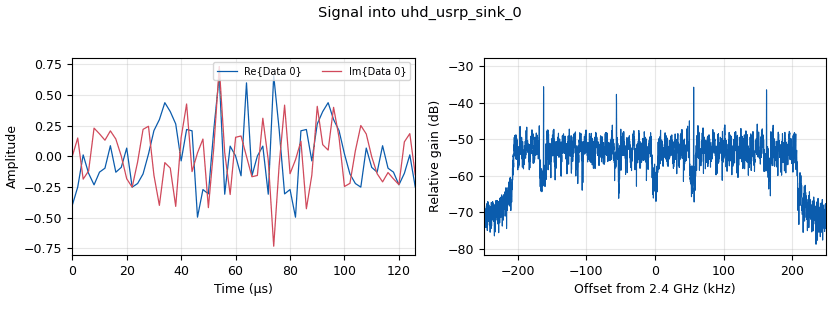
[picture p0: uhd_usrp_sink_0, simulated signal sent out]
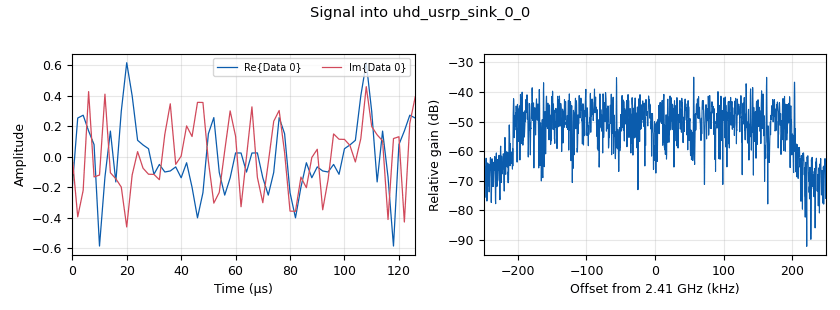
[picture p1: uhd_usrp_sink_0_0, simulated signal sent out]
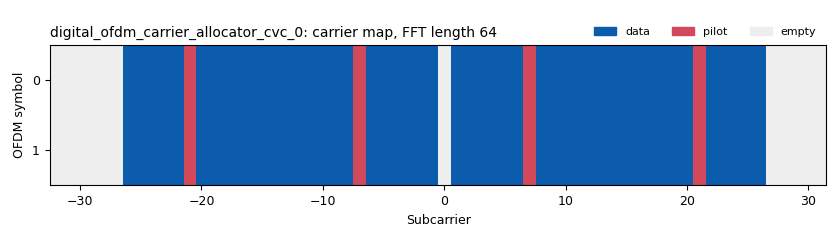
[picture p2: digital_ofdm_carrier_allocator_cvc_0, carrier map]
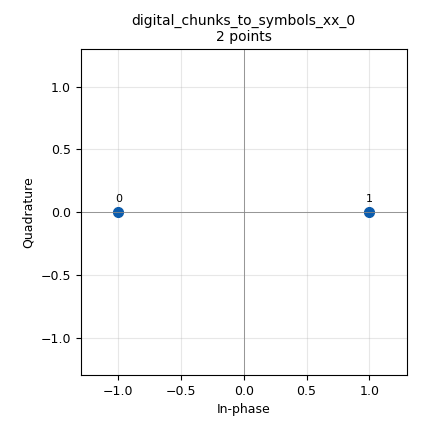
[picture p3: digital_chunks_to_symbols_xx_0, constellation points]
options:
  parameters:
    author: alvaro
    generate_options: qt_gui
    id: primary_users
    output_language: python
    title: PRIMARY USERS
  states: {}

blocks:
- name: fft_len
  id: variable
  parameters:
    value: '64'
  states: {}
- name: hdr_format
  id: variable
  parameters:
    value: digital.header_format_ofdm(occupied_carriers, 1, length_tag_key,)
  states: {}
- name: header_equalizer
  id: variable
  parameters:
    value: digital.ofdm_equalizer_simpledfe(fft_len, header_mod.base(), occupied_carriers, pilot_carriers, pilot_symbols)
  states: {}
- name: header_formatter
  id: variable
  parameters:
    value: digital.packet_header_ofdm(occupied_carriers, n_syms=1, len_tag_key=packet_length_tag_key, frame_len_tag_key=length_tag_key, bits_per_header_sym=header_mod.bits_per_symbol(), bits_per_payload_sym=payload_mod.bits_per_symbol(), scramble_header=False)
  states: {}
- name: header_mod
  id: variable
  parameters:
    value: digital.constellation_bpsk()
  states: {}
- name: length_tag_key
  id: variable
  parameters:
    value: '"packet_len"'
  states: {}
- name: occupied_carriers
  id: variable
  parameters:
    value: (list(range(-26, -21)) + list(range(-20, -7)) + list(range(-6, 0)) + list(range(1, 7)) + list(range(8, 21)) + list(range(22, 27)),)
  states: {}
- name: packet_len
  id: variable
  parameters:
    value: '125'
  states: {}
- name: packet_length_tag_key
  id: variable
  parameters:
    value: '"packet_len"'
  states: {}
- name: payload_equalizer
  id: variable
  parameters:
    value: digital.ofdm_equalizer_simpledfe(fft_len, payload_mod.base(), occupied_carriers, pilot_carriers, pilot_symbols, 1)
  states: {}
- name: payload_mod
  id: variable
  parameters:
    value: digital.constellation_bpsk()
  states: {}
- name: pilot_carriers
  id: variable
  parameters:
    value: ((-21, -7, 7, 21,),)
  states: {}
- name: pilot_symbols
  id: variable
  parameters:
    value: ((1, 1, 1, -1,),)
  states: {}
- name: prx_downstream_freq
  id: variable_qtgui_entry
  parameters:
    label: PRIMARY RX DOWNSTREAM FREQ
    type: int
    value: '2400000000'
  states: {}
- name: prx_downstream_gain
  id: variable_qtgui_entry
  parameters:
    label: PRIMARY RX DOWNSTREAM GAIN
    type: int
    value: '50'
  states: {}
- name: prx_upstream_freq
  id: variable_qtgui_entry
  parameters:
    label: PRIMARY RX UPSTREAM FREQ
    type: int
    value: '2410000000'
  states: {}
- name: prx_upstream_gain
  id: variable_qtgui_entry
  parameters:
    label: PRIMARY RX UPSTREAM GAIN
    type: int
    value: '50'
  states: {}
- name: ptx_downstream_freq
  id: variable_qtgui_entry
  parameters:
    label: PRIMARY TX DOWNSTREAM FREQ
    type: int
    value: '2410000000'
  states: {}
- name: ptx_downstream_gain
  id: variable_qtgui_entry
  parameters:
    label: PRIMARY TX DOWNSTREAM GAIN
    type: real
    value: '50'
  states: {}
- name: ptx_upstream_freq
  id: variable_qtgui_entry
  parameters:
    label: PRIMARY TX UPSTREAM FREQ
    type: int
    value: '2400000000'
  states: {}
- name: ptx_upstream_gain
  id: variable_qtgui_entry
  parameters:
    label: PRIMARY TX UPSTREAM GAIN
    type: int
    value: '50'
  states: {}
- name: rolloff
  id: variable
  parameters:
    value: '0'
  states: {}
- name: samp_rate
  id: variable
  parameters:
    value: '500000'
  states: {}
- name: sync_word1
  id: variable
  parameters:
    value: '[0., 0., 0., 0., 0., 0., 0., 1.41421356, 0., -1.41421356, 0., 1.41421356, 0., -1.41421356, 0., -1.41421356, 0., -1.41421356, 0., 1.41421356, 0., -1.41421356, 0., 1.41421356, 0., -1.41421356, 0., -1.41421356, 0., -1.41421356, 0., -1.41421356, 0., 1.41421356, 0., -1.41421356, 0., 1.41421356, 0., 1.41421356, 0., 1.41421356, 0., -1.41421356, 0., 1.41421356, 0., 1.41421356, 0., 1.41421356, 0., -1.41421356, 0., 1.41421356, 0., 1.41421356, 0., 1.41421356, 0., 0., 0., 0., 0., 0.]'
  states: {}
- name: sync_word2
  id: variable
  parameters:
    value: '[0, 0, 0, 0, 0, 0, -1, -1, -1, -1, 1, 1, -1, -1, -1, 1, -1, 1, 1, 1, 1, 1, -1, -1, -1, -1, -1, 1, -1, -1, 1, -1, 0, 1, -1, 1, 1, 1, -1, 1, 1, 1, -1, 1, 1, 1, 1, -1, 1, -1, -1, -1, 1, -1, 1, -1, -1, -1, -1, 0, 0, 0, 0, 0] '
  states: {}
- name: analog_frequency_modulator_fc_0_0_0
  id: analog_frequency_modulator_fc
  parameters:
    sensitivity: '-2.0/fft_len'
  states: {}
- name: analog_frequency_modulator_fc_0_0_0_0
  id: analog_frequency_modulator_fc
  parameters:
    sensitivity: '-2.0/fft_len'
  states: {}
- name: blocks_delay_0_0_0
  id: blocks_delay
  parameters:
    delay: fft_len+fft_len//4
    type: complex
  states: {}
- name: blocks_delay_0_0_0_0
  id: blocks_delay
  parameters:
    delay: fft_len+fft_len//4
    type: complex
  states: {}
- name: blocks_message_debug_0
  id: blocks_message_debug
  parameters: {}
  states: {state: disabled}
- name: blocks_message_debug_0_0
  id: blocks_message_debug
  parameters: {}
  states: {state: disabled}
- name: blocks_message_debug_0_0_0
  id: blocks_message_debug
  parameters: {}
  states: {}
- name: blocks_message_strobe_0
  id: blocks_message_strobe
  parameters:
    msg: pmt.intern("TEST")
    period: '1'
  states: {}
- name: blocks_multiply_const_vxx_0
  id: blocks_multiply_const_vxx
  parameters:
    const: '50e-3'
    type: complex
  states: {}
- name: blocks_multiply_const_vxx_0_0
  id: blocks_multiply_const_vxx
  parameters:
    const: '50e-3'
    type: complex
  states: {}
- name: blocks_multiply_xx_0_0_0
  id: blocks_multiply_xx
  parameters:
    type: complex
  states: {}
- name: blocks_multiply_xx_0_0_0_0
  id: blocks_multiply_xx
  parameters:
    type: complex
  states: {}
- name: blocks_pdu_to_tagged_stream_0
  id: blocks_pdu_to_tagged_stream
  parameters:
    tag: packet_len
    type: byte
  states: {}
- name: blocks_pdu_to_tagged_stream_0_0
  id: blocks_pdu_to_tagged_stream
  parameters:
    tag: packet_len
    type: byte
  states: {}
- name: blocks_pdu_to_tagged_stream_0_0_0
  id: blocks_pdu_to_tagged_stream
  parameters:
    tag: packet_len
    type: byte
  states: {}
- name: blocks_pdu_to_tagged_stream_0_1
  id: blocks_pdu_to_tagged_stream
  parameters:
    tag: packet_len
    type: byte
  states: {}
- name: blocks_random_pdu_0
  id: blocks_random_pdu
  parameters:
    length_modulo: '1'
    mask: '0xff'
    maxsize: '119'
    minsize: '119'
  states: {}
- name: blocks_random_pdu_0_0
  id: blocks_random_pdu
  parameters:
    length_modulo: '1'
    mask: '0xff'
    maxsize: '119'
    minsize: '119'
  states: {}
- name: blocks_repack_bits_bb_0
  id: blocks_repack_bits_bb
  parameters:
    endianness: gr.GR_LSB_FIRST
    k: '8'
    l: payload_mod.bits_per_symbol()
    len_tag_key: length_tag_key
  states: {}
- name: blocks_repack_bits_bb_0_0
  id: blocks_repack_bits_bb
  parameters:
    endianness: gr.GR_LSB_FIRST
    k: '8'
    l: '1'
    len_tag_key: length_tag_key
  states: {}
- name: blocks_repack_bits_bb_0_0_0
  id: blocks_repack_bits_bb
  parameters:
    endianness: gr.GR_LSB_FIRST
    k: '8'
    l: '1'
    len_tag_key: length_tag_key
  states: {}
- name: blocks_repack_bits_bb_0_1
  id: blocks_repack_bits_bb
  parameters:
    endianness: gr.GR_LSB_FIRST
    k: '8'
    l: payload_mod.bits_per_symbol()
    len_tag_key: length_tag_key
  states: {}
- name: blocks_repack_bits_bb_0_1_0_0
  id: blocks_repack_bits_bb
  parameters:
    align_output: 'True'
    endianness: gr.GR_LSB_FIRST
    k: payload_mod.bits_per_symbol()
    l: '8'
    len_tag_key: packet_length_tag_key
  states: {}
- name: blocks_repack_bits_bb_0_1_0_0_0
  id: blocks_repack_bits_bb
  parameters:
    align_output: 'True'
    endianness: gr.GR_LSB_FIRST
    k: payload_mod.bits_per_symbol()
    l: '8'
    len_tag_key: packet_length_tag_key
  states: {}
- name: blocks_tag_debug_1_0_0
  id: blocks_tag_debug
  parameters:
    display: 'False'
    name: Rx Bytes
    type: byte
  states: {}
- name: blocks_tag_debug_1_0_0_0
  id: blocks_tag_debug
  parameters:
    display: 'False'
    name: Rx Bytes
    type: byte
  states: {}
- name: blocks_tag_gate_0
  id: blocks_tag_gate
  parameters:
    propagate_tags: 'True'
    type: complex
  states: {}
- name: blocks_tag_gate_0_0
  id: blocks_tag_gate
  parameters:
    propagate_tags: 'True'
    type: complex
  states: {}
- name: blocks_tagged_stream_mux_0
  id: blocks_tagged_stream_mux
  parameters:
    lengthtagname: length_tag_key
    ninputs: '2'
    type: complex
  states: {}
- name: blocks_tagged_stream_mux_0_0
  id: blocks_tagged_stream_mux
  parameters:
    lengthtagname: length_tag_key
    ninputs: '2'
    type: complex
  states: {}
- name: blocks_tagged_stream_to_pdu_0
  id: blocks_tagged_stream_to_pdu
  parameters:
    tag: length_tag_key
    type: byte
  states: {}
- name: blocks_tagged_stream_to_pdu_0_0
  id: blocks_tagged_stream_to_pdu
  parameters:
    tag: length_tag_key
    type: byte
  states: {}
- name: digital_chunks_to_symbols_xx_0
  id: digital_chunks_to_symbols_xx
  parameters:
    dimension: '1'
    in_type: byte
    out_type: complex
    symbol_table: header_mod.points()
  states: {}
- name: digital_chunks_to_symbols_xx_0_0
  id: digital_chunks_to_symbols_xx
  parameters:
    dimension: '1'
    in_type: byte
    out_type: complex
    symbol_table: payload_mod.points()
  states: {}
- name: digital_chunks_to_symbols_xx_0_0_0
  id: digital_chunks_to_symbols_xx
  parameters:
    dimension: '1'
    in_type: byte
    out_type: complex
    symbol_table: payload_mod.points()
  states: {}
- name: digital_chunks_to_symbols_xx_0_1
  id: digital_chunks_to_symbols_xx
  parameters:
    dimension: '1'
    in_type: byte
    out_type: complex
    symbol_table: header_mod.points()
  states: {}
- name: digital_constellation_decoder_cb_0_0_0
  id: digital_constellation_decoder_cb
  parameters:
    constellation: header_mod.base()
  states: {}
- name: digital_constellation_decoder_cb_0_0_0_0
  id: digital_constellation_decoder_cb
  parameters:
    constellation: header_mod.base()
  states: {}
- name: digital_constellation_decoder_cb_1_0_0
  id: digital_constellation_decoder_cb
  parameters:
    constellation: payload_mod.base()
  states: {}
- name: digital_constellation_decoder_cb_1_0_0_0
  id: digital_constellation_decoder_cb
  parameters:
    constellation: payload_mod.base()
  states: {}
- name: digital_header_payload_demux_0_0_0
  id: digital_header_payload_demux
  parameters:
    guard_interval: fft_len//4
    header_len: '3'
    header_padding: '0'
    items_per_symbol: fft_len
    length_tag_key: length_tag_key
    output_symbols: 'True'
    samp_rate: samp_rate
    special_tags: ()
    timing_tag_key: '"rx_time"'
    type: complex
  states: {}
- name: digital_header_payload_demux_0_0_0_0
  id: digital_header_payload_demux
  parameters:
    guard_interval: fft_len//4
    header_len: '3'
    header_padding: '0'
    items_per_symbol: fft_len
    length_tag_key: length_tag_key
    output_symbols: 'True'
    samp_rate: samp_rate
    special_tags: ()
    timing_tag_key: '"rx_time"'
    type: complex
  states: {}
- name: digital_ofdm_carrier_allocator_cvc_0
  id: digital_ofdm_carrier_allocator_cvc
  parameters:
    fft_len: fft_len
    len_tag_key: length_tag_key
    occupied_carriers: occupied_carriers
    output_is_shifted: 'True'
    pilot_carriers: pilot_carriers
    pilot_symbols: pilot_symbols
    sync_words: (sync_word1, sync_word2)
  states: {}
- name: digital_ofdm_carrier_allocator_cvc_0_0
  id: digital_ofdm_carrier_allocator_cvc
  parameters:
    fft_len: fft_len
    len_tag_key: length_tag_key
    occupied_carriers: occupied_carriers
    output_is_shifted: 'True'
    pilot_carriers: pilot_carriers
    pilot_symbols: pilot_symbols
    sync_words: (sync_word1, sync_word2)
  states: {}
- name: digital_ofdm_chanest_vcvc_0_0_0
  id: digital_ofdm_chanest_vcvc
  parameters:
    force_one_symbol: 'False'
    max_carr_offset: '3'
    n_data_symbols: '1'
    sync_symbol1: sync_word1
    sync_symbol2: sync_word2
  states: {}
- name: digital_ofdm_chanest_vcvc_0_0_0_0
  id: digital_ofdm_chanest_vcvc
  parameters:
    force_one_symbol: 'False'
    max_carr_offset: '3'
    n_data_symbols: '1'
    sync_symbol1: sync_word1
    sync_symbol2: sync_word2
  states: {}
- name: digital_ofdm_cyclic_prefixer_0
  id: digital_ofdm_cyclic_prefixer
  parameters:
    cp_len: fft_len//4
    input_size: fft_len
    rolloff: rolloff
    tagname: length_tag_key
  states: {}
- name: digital_ofdm_cyclic_prefixer_0_0
  id: digital_ofdm_cyclic_prefixer
  parameters:
    cp_len: fft_len//4
    input_size: fft_len
    rolloff: rolloff
    tagname: length_tag_key
  states: {}
- name: digital_ofdm_frame_equalizer_vcvc_0_0_0
  id: digital_ofdm_frame_equalizer_vcvc
  parameters:
    cp_len: fft_len//4
    equalizer: header_equalizer.base()
    fft_len: fft_len
    fixed_frame_len: '1'
    len_tag_key: length_tag_key
    propagate_channel_state: 'True'
  states: {}
- name: digital_ofdm_frame_equalizer_vcvc_0_0_0_0
  id: digital_ofdm_frame_equalizer_vcvc
  parameters:
    cp_len: fft_len//4
    equalizer: header_equalizer.base()
    fft_len: fft_len
    fixed_frame_len: '1'
    len_tag_key: length_tag_key
    propagate_channel_state: 'True'
  states: {}
- name: digital_ofdm_frame_equalizer_vcvc_1_0_0
  id: digital_ofdm_frame_equalizer_vcvc
  parameters:
    cp_len: fft_len//4
    equalizer: payload_equalizer.base()
    fft_len: fft_len
    len_tag_key: length_tag_key
    propagate_channel_state: 'True'
  states: {}
- name: digital_ofdm_frame_equalizer_vcvc_1_0_0_0
  id: digital_ofdm_frame_equalizer_vcvc
  parameters:
    cp_len: fft_len//4
    equalizer: payload_equalizer.base()
    fft_len: fft_len
    len_tag_key: length_tag_key
    propagate_channel_state: 'True'
  states: {}
- name: digital_ofdm_serializer_vcc_header_0_0
  id: digital_ofdm_serializer_vcc
  parameters:
    carr_offset_key: ''
    fft_len: fft_len
    len_tag_key: length_tag_key
    occupied_carriers: occupied_carriers
    packet_len_tag_key: ''
  states: {}
- name: digital_ofdm_serializer_vcc_header_0_0_0
  id: digital_ofdm_serializer_vcc
  parameters:
    carr_offset_key: ''
    fft_len: fft_len
    len_tag_key: length_tag_key
    occupied_carriers: occupied_carriers
    packet_len_tag_key: ''
  states: {}
- name: digital_ofdm_serializer_vcc_payload_0_0
  id: digital_ofdm_serializer_vcc
  parameters:
    carr_offset_key: ''
    fft_len: fft_len
    len_tag_key: length_tag_key
    occupied_carriers: occupied_carriers
    packet_len_tag_key: packet_length_tag_key
    symbols_skipped: '1'
  states: {}
- name: digital_ofdm_serializer_vcc_payload_0_0_0
  id: digital_ofdm_serializer_vcc
  parameters:
    carr_offset_key: ''
    fft_len: fft_len
    len_tag_key: length_tag_key
    occupied_carriers: occupied_carriers
    packet_len_tag_key: packet_length_tag_key
    symbols_skipped: '1'
  states: {}
- name: digital_ofdm_sync_sc_cfb_0_0_0
  id: digital_ofdm_sync_sc_cfb
  parameters:
    cp_len: fft_len//4
    fft_len: fft_len
    threshold: '0.9'
  states: {}
- name: digital_ofdm_sync_sc_cfb_0_0_0_0
  id: digital_ofdm_sync_sc_cfb
  parameters:
    cp_len: fft_len//4
    fft_len: fft_len
    threshold: '0.9'
  states: {}
- name: digital_packet_headerparser_b_0_0_0
  id: digital_packet_headerparser_b
  parameters:
    header_formatter: header_formatter.base()
  states: {}
- name: digital_packet_headerparser_b_0_0_0_0
  id: digital_packet_headerparser_b
  parameters:
    header_formatter: header_formatter.base()
  states: {}
- name: digital_protocol_formatter_async_0
  id: digital_protocol_formatter_async
  parameters:
    format: hdr_format
  states: {}
- name: digital_protocol_formatter_async_0_0
  id: digital_protocol_formatter_async
  parameters:
    format: hdr_format
  states: {}
- name: epy_block_0
  id: epy_block
  parameters:
    _source_code: "from gnuradio import gr\nimport re\nimport numpy as np\nimport time\nimport re\n\n\nclass mac(gr.sync_block):\n    def __init__(self):\n        gr.sync_block.__init__(self,\n            name=\"MAC\",\n            in_sig=None,\n            out_sig=None\n            )\n        # Message portsw\n        self.message_port_register_out(gr.pmt.intern(\"transmit_packet\"))\n        self.message_port_register_in(gr.pmt.intern(\"time_unit\"))\n        self.message_port_register_in(gr.pmt.intern(\"ack\"))\n        self.set_msg_handler(gr.pmt.intern('time_unit'), self.send_packet)\n        self.set_msg_handler(gr.pmt.intern('ack'), self.ack_handler)\n        self.interation_wait_ack = 300 # interation_wait_ack * 3ms = 30ms waiting\n        self.packet_num_send = 0\n        self.packet_num_received = -1\n        self.transmit = True\n        \n        \n    def ack_handler(self, msg):\n        \n        msg_vec = gr.pmt.cdr(msg)\n\n        # Convert the PMT vector into a Python list\n        msg_data = []\n        for i in range(48):\n            msg_data.append(gr.pmt.u8vector_ref(msg_vec, i))\n            \n        a = 0           \n        for i in msg_data[1:]:\n            a = a + i\n        \n        self.packet_num_received =  a * 255 + msg_data[0]\n\n        # print(self.packet_num_received)\n                \n        \n    def send_packet(self, msg):\n    \n        # White space and ACK of the last packet received\n        if (self.transmit == True):\n        \n            # Set up the pdu body with the number of the packet\n            send_str = self.packet_num_send.to_bytes(48, 'little', signed=True) \n            send_pmt = gr.pmt.make_u8vector(len(send_str), 0)\n        \n            for i in range(len(send_str)):\n                gr.pmt.u8vector_set(send_pmt, i, send_str[i])\n        \n            msg = gr.pmt.cons(gr.pmt.PMT_NIL, send_pmt)   \n            self.message_port_pub(gr.pmt.intern('transmit_packet'), msg)\n            \n            # Decrease the time out in one unit, take down the transmit flag and print sended packet number\n            self.interation_wait_ack -= 1\n            self.transmit = False\n            print (\"Transimitting packet number \" + str(self.packet_num_send))\n\n        # ACK Received, reestablish time out, increase packet number and flag\n        elif (self.packet_num_received == self.packet_num_send):\n            self.interation_wait_ack = 300\n            self.packet_num_send += 1\n            self.transmit = True\n            print (\"ACK of \" + str(self.packet_num_send) + \" received\")\n        \n        elif (self.interation_wait_ack > 0 and self.packet_num_received != self.packet_num_send):\n            self.interation_wait_ack -= 1\n            self.transmit = False\n        \n        else:\n            self.transmit = True\n            print (\"NACK of \" + str(self.packet_num_send) + \" received\")\n            print (\"Retransmitting packet number \" + str(self.packet_num_send))\n        \n       \n  \n\n"
  states: {state: disabled}
- name: epy_block_0_0
  id: epy_block
  parameters:
    _source_code: "from gnuradio import gr\nimport re\nimport numpy as np\nimport time\nimport re\n\n\nclass mac(gr.sync_block):\n    def __init__(self):\n        gr.sync_block.__init__(self,\n            name=\"MAC\",\n            in_sig=None,\n            out_sig=None\n            )\n        # Message portsw\n        self.message_port_register_in(gr.pmt.intern(\"packet\"))\n        self.message_port_register_out(gr.pmt.intern(\"ack\"))\n        self.set_msg_handler(gr.pmt.intern('packet'), self.ack_sender)\n        self.packet_num_received = 0\n        self.shift = 0\n        \n    def ack_sender(self, msg):\n        \n        msg_vec = gr.pmt.cdr(msg)\n        # Convert the PMT vector into a Python list to extract the number\n        msg_data = []\n        for i in range(48):\n            msg_data.append(gr.pmt.u8vector_ref(msg_vec, i))\n        a = 0           \n        for i in msg_data[1:]:\n            a = a + i\n        \n        self.packet_num_received =  a * 255 + msg_data[0]\n\n                \n        # Introduce the same received number into the pdu to send the ACK\n        send_str = self.packet_num_received.to_bytes(48, 'little', signed=True) \n        send_pmt = gr.pmt.make_u8vector(len(send_str), 0)\n   \n        for i in range(len(send_str)):\n            gr.pmt.u8vector_set(send_pmt, i, send_str[i])\n        \n        msg = gr.pmt.cons(gr.pmt.PMT_NIL, send_pmt)\n        print(\"ACK from packet number \" + str(self.packet_num_received) + \" sended\")\n        self.message_port_pub(gr.pmt.intern('ack'), msg)\n\n\n"
  states: {state: disabled}
- name: fft_vxx_0
  id: fft_vxx
  parameters:
    fft_size: fft_len
    forward: 'False'
    shift: 'True'
    type: complex
    window: ()
  states: {}
- name: fft_vxx_0_0
  id: fft_vxx
  parameters:
    fft_size: fft_len
    forward: 'False'
    shift: 'True'
    type: complex
    window: ()
  states: {}
- name: fft_vxx_0_0_0_0
  id: fft_vxx
  parameters:
    fft_size: fft_len
    forward: 'True'
    shift: 'True'
    type: complex
    window: ()
  states: {}
- name: fft_vxx_0_0_0_0_0
  id: fft_vxx
  parameters:
    fft_size: fft_len
    forward: 'True'
    shift: 'True'
    type: complex
    window: ()
  states: {}
- name: fft_vxx_1_0_0
  id: fft_vxx
  parameters:
    fft_size: fft_len
    forward: 'True'
    shift: 'True'
    type: complex
    window: ()
  states: {}
- name: fft_vxx_1_0_0_0
  id: fft_vxx
  parameters:
    fft_size: fft_len
    forward: 'True'
    shift: 'True'
    type: complex
    window: ()
  states: {}
- name: header_bits
  id: virtual_sink
  parameters:
    stream_id: Header Bits B210 TX
  states: {}
- name: header_bits_0
  id: virtual_sink
  parameters:
    stream_id: Header Bits B200 TX
  states: {}
- name: import_1
  id: import
  parameters:
    imports: from gnuradio.digital.utils import tagged_streams
  states: {}
- name: qtgui_freq_sink_x_0
  id: qtgui_freq_sink_x
  parameters:
    bw: samp_rate
    fc: ptx_downstream_freq
    fftsize: '1024'
    name: PRIMARY TX B200 DOWNSTREAM
    type: complex
    wintype: firdes.WIN_BLACKMAN_hARRIS
  states: {}
- name: qtgui_freq_sink_x_0_0
  id: qtgui_freq_sink_x
  parameters:
    bw: samp_rate
    fc: prx_downstream_freq
    fftsize: '1024'
    name: PRIMARY RX B200 DOWNSTREAM
    type: complex
    wintype: firdes.WIN_BLACKMAN_hARRIS
  states: {}
- name: qtgui_time_sink_x_0
  id: qtgui_time_sink_x
  parameters:
    name: B200 SU
    size: '1024'
    srate: samp_rate
    type: complex
  states: {state: disabled}
- name: qtgui_time_sink_x_0_0
  id: qtgui_time_sink_x
  parameters:
    name: B200 SU
    size: '1024'
    srate: samp_rate
    type: complex
  states: {state: disabled}
- name: uhd_usrp_sink_0
  id: uhd_usrp_sink
  parameters:
    ant0: TX/RX
    center_freq0: ptx_upstream_freq
    dev_addr: serial=F5C243
    dev_args: '""'
    gain0: ptx_upstream_gain
    len_tag_name: ''
    norm_gain0: 'False'
    samp_rate: samp_rate
    sync: sync
    type: fc32
  states: {}
- name: uhd_usrp_sink_0_0
  id: uhd_usrp_sink
  parameters:
    ant0: TX/RX
    center_freq0: prx_upstream_freq
    dev_addr: serial=F5C234
    dev_args: '""'
    gain0: prx_upstream_gain
    len_tag_name: ''
    norm_gain0: 'False'
    samp_rate: samp_rate
    sync: sync
    type: fc32
  states: {}
- name: uhd_usrp_source_0
  id: uhd_usrp_source
  parameters:
    ant0: RX2
    center_freq0: ptx_downstream_freq
    dc_offs_enb0: '""'
    dev_addr: serial=F5C243
    dev_args: '""'
    gain0: ptx_downstream_gain
    iq_imbal_enb0: '""'
    norm_gain0: 'False'
    samp_rate: samp_rate
    sync: sync
    type: fc32
  states: {}
- name: uhd_usrp_source_0_0
  id: uhd_usrp_source
  parameters:
    ant0: RX2
    center_freq0: prx_downstream_freq
    dc_offs_enb0: '""'
    dev_addr: serial=F5C234
    dev_args: '""'
    gain0: prx_downstream_gain
    iq_imbal_enb0: '""'
    norm_gain0: 'False'
    samp_rate: samp_rate
    sync: sync
    type: fc32
  states: {}
- name: virtual_sink_0
  id: virtual_sink
  parameters:
    stream_id: Time Domain B210 TX
  states: {state: disabled}
- name: virtual_sink_0_0
  id: virtual_sink
  parameters:
    stream_id: Payload Bits B210 TX
  states: {}
- name: virtual_sink_0_0_0
  id: virtual_sink
  parameters:
    stream_id: Pre-OFDM B210 TX
  states: {}
- name: virtual_sink_0_0_0_0
  id: virtual_sink
  parameters:
    stream_id: Pre-OFDM B200 TX
  states: {}
- name: virtual_sink_0_0_1
  id: virtual_sink
  parameters:
    stream_id: Payload Bits B200 TX
  states: {}
- name: virtual_sink_0_1
  id: virtual_sink
  parameters:
    stream_id: Time Domain B200 TX
  states: {state: disabled}
- name: virtual_sink_0_1_0_0
  id: virtual_sink
  parameters:
    stream_id: Header Stream B200 RX1
  states: {}
- name: virtual_sink_0_1_0_0_0
  id: virtual_sink
  parameters:
    stream_id: Header Stream B210 RX2
  states: {}
- name: virtual_sink_1_0_0_0
  id: virtual_sink
  parameters:
    stream_id: Payload IQ B200 RX1
  states: {}
- name: virtual_sink_1_0_0_0_0
  id: virtual_sink
  parameters:
    stream_id: SENSING IN
  states: {}
- name: virtual_sink_1_0_0_0_1
  id: virtual_sink
  parameters:
    stream_id: Payload IQ B210 RX2
  states: {}
- name: virtual_sink_1_1_0
  id: virtual_sink
  parameters:
    stream_id: Payload Stream B200 RX1
  states: {}
- name: virtual_sink_1_1_0_0
  id: virtual_sink
  parameters:
    stream_id: Payload Stream B210 RX2
  states: {}
- name: virtual_source_0
  id: virtual_source
  parameters:
    stream_id: Header Bits B210 TX
  states: {}
- name: virtual_source_0_0
  id: virtual_source
  parameters:
    stream_id: Payload Bits B210 TX
  states: {}
- name: virtual_source_0_0_0
  id: virtual_source
  parameters:
    stream_id: Pre-OFDM B210 TX
  states: {}
- name: virtual_source_0_0_0_0
  id: virtual_source
  parameters:
    stream_id: Pre-OFDM B200 TX
  states: {}
- name: virtual_source_0_0_1
  id: virtual_source
  parameters:
    stream_id: Payload Bits B200 TX
  states: {}
- name: virtual_source_0_0_1_0_0
  id: virtual_source
  parameters:
    stream_id: Payload IQ B200 RX1
  states: {}
- name: virtual_source_0_0_1_0_0_0
  id: virtual_source
  parameters:
    stream_id: Payload IQ B210 RX2
  states: {}
- name: virtual_source_0_1
  id: virtual_source
  parameters:
    stream_id: Header Bits B200 TX
  states: {}
- name: virtual_source_0_1_0_0
  id: virtual_source
  parameters:
    stream_id: Header Stream B200 RX1
  states: {}
- name: virtual_source_0_1_0_0_0
  id: virtual_source
  parameters:
    stream_id: Header Stream B210 RX2
  states: {}
- name: virtual_source_1_0_0
  id: virtual_source
  parameters:
    stream_id: Payload Stream B200 RX1
  states: {}
- name: virtual_source_1_0_0_0
  id: virtual_source
  parameters:
    stream_id: Payload Stream B210 RX2
  states: {}

connections:
- [analog_frequency_modulator_fc_0_0_0, '0', blocks_multiply_xx_0_0_0, '0']
- [analog_frequency_modulator_fc_0_0_0_0, '0', blocks_multiply_xx_0_0_0_0, '0']
- [blocks_delay_0_0_0, '0', blocks_multiply_xx_0_0_0, '1']
- [blocks_delay_0_0_0_0, '0', blocks_multiply_xx_0_0_0_0, '1']
- [blocks_message_strobe_0, strobe, blocks_random_pdu_0, generate]
- [blocks_multiply_const_vxx_0, '0', blocks_tag_gate_0, '0']
- [blocks_multiply_const_vxx_0_0, '0', blocks_tag_gate_0_0, '0']
- [blocks_multiply_xx_0_0_0, '0', digital_header_payload_demux_0_0_0, '0']
- [blocks_multiply_xx_0_0_0_0, '0', digital_header_payload_demux_0_0_0_0, '0']
- [blocks_pdu_to_tagged_stream_0, '0', blocks_repack_bits_bb_0, '0']
- [blocks_pdu_to_tagged_stream_0_0, '0', blocks_repack_bits_bb_0_0, '0']
- [blocks_pdu_to_tagged_stream_0_0_0, '0', blocks_repack_bits_bb_0_0_0, '0']
- [blocks_pdu_to_tagged_stream_0_1, '0', blocks_repack_bits_bb_0_1, '0']
- [blocks_random_pdu_0, pdus, blocks_message_debug_0, print_pdu]
- [blocks_random_pdu_0, pdus, digital_protocol_formatter_async_0, in]
- [blocks_random_pdu_0_0, pdus, digital_protocol_formatter_async_0_0, in]
- [blocks_repack_bits_bb_0, '0', virtual_sink_0_0, '0']
- [blocks_repack_bits_bb_0_0, '0', header_bits, '0']
- [blocks_repack_bits_bb_0_0_0, '0', header_bits_0, '0']
- [blocks_repack_bits_bb_0_1, '0', virtual_sink_0_0_1, '0']
- [blocks_repack_bits_bb_0_1_0_0, '0', blocks_tag_debug_1_0_0, '0']
- [blocks_repack_bits_bb_0_1_0_0, '0', blocks_tagged_stream_to_pdu_0, '0']
- [blocks_repack_bits_bb_0_1_0_0_0, '0', blocks_tag_debug_1_0_0_0, '0']
- [blocks_repack_bits_bb_0_1_0_0_0, '0', blocks_tagged_stream_to_pdu_0_0, '0']
- [blocks_tag_gate_0, '0', uhd_usrp_sink_0, '0']
- [blocks_tag_gate_0, '0', virtual_sink_0, '0']
- [blocks_tag_gate_0_0, '0', uhd_usrp_sink_0_0, '0']
- [blocks_tagged_stream_mux_0, '0', virtual_sink_0_0_0, '0']
- [blocks_tagged_stream_mux_0_0, '0', virtual_sink_0_0_0_0, '0']
- [blocks_tagged_stream_to_pdu_0, pdus, blocks_message_debug_0_0, print_pdu]
- [blocks_tagged_stream_to_pdu_0_0, pdus, blocks_message_debug_0_0_0, print_pdu]
- [digital_chunks_to_symbols_xx_0, '0', blocks_tagged_stream_mux_0, '0']
- [digital_chunks_to_symbols_xx_0_0, '0', blocks_tagged_stream_mux_0, '1']
- [digital_chunks_to_symbols_xx_0_0_0, '0', blocks_tagged_stream_mux_0_0, '1']
- [digital_chunks_to_symbols_xx_0_1, '0', blocks_tagged_stream_mux_0_0, '0']
- [digital_constellation_decoder_cb_0_0_0, '0', digital_packet_headerparser_b_0_0_0, '0']
- [digital_constellation_decoder_cb_0_0_0_0, '0', digital_packet_headerparser_b_0_0_0_0, '0']
- [digital_constellation_decoder_cb_1_0_0, '0', blocks_repack_bits_bb_0_1_0_0, '0']
- [digital_constellation_decoder_cb_1_0_0_0, '0', blocks_repack_bits_bb_0_1_0_0_0, '0']
- [digital_header_payload_demux_0_0_0, '0', virtual_sink_0_1_0_0, '0']
- [digital_header_payload_demux_0_0_0, '1', virtual_sink_1_1_0, '0']
- [digital_header_payload_demux_0_0_0_0, '0', virtual_sink_0_1_0_0_0, '0']
- [digital_header_payload_demux_0_0_0_0, '1', virtual_sink_1_1_0_0, '0']
- [digital_ofdm_carrier_allocator_cvc_0, '0', fft_vxx_0, '0']
- [digital_ofdm_carrier_allocator_cvc_0_0, '0', fft_vxx_0_0, '0']
- [digital_ofdm_chanest_vcvc_0_0_0, '0', digital_ofdm_frame_equalizer_vcvc_0_0_0, '0']
- [digital_ofdm_chanest_vcvc_0_0_0_0, '0', digital_ofdm_frame_equalizer_vcvc_0_0_0_0, '0']
- [digital_ofdm_cyclic_prefixer_0, '0', blocks_multiply_const_vxx_0, '0']
- [digital_ofdm_cyclic_prefixer_0_0, '0', blocks_multiply_const_vxx_0_0, '0']
- [digital_ofdm_cyclic_prefixer_0_0, '0', virtual_sink_0_1, '0']
- [digital_ofdm_frame_equalizer_vcvc_0_0_0, '0', digital_ofdm_serializer_vcc_header_0_0, '0']
- [digital_ofdm_frame_equalizer_vcvc_0_0_0_0, '0', digital_ofdm_serializer_vcc_header_0_0_0, '0']
- [digital_ofdm_frame_equalizer_vcvc_1_0_0, '0', digital_ofdm_serializer_vcc_payload_0_0, '0']
- [digital_ofdm_frame_equalizer_vcvc_1_0_0_0, '0', digital_ofdm_serializer_vcc_payload_0_0_0, '0']
- [digital_ofdm_serializer_vcc_header_0_0, '0', digital_constellation_decoder_cb_0_0_0, '0']
- [digital_ofdm_serializer_vcc_header_0_0_0, '0', digital_constellation_decoder_cb_0_0_0_0, '0']
- [digital_ofdm_serializer_vcc_payload_0_0, '0', virtual_sink_1_0_0_0, '0']
- [digital_ofdm_serializer_vcc_payload_0_0_0, '0', virtual_sink_1_0_0_0_1, '0']
- [digital_ofdm_sync_sc_cfb_0_0_0, '0', analog_frequency_modulator_fc_0_0_0, '0']
- [digital_ofdm_sync_sc_cfb_0_0_0, '1', digital_header_payload_demux_0_0_0, '1']
- [digital_ofdm_sync_sc_cfb_0_0_0_0, '0', analog_frequency_modulator_fc_0_0_0_0, '0']
- [digital_ofdm_sync_sc_cfb_0_0_0_0, '1', digital_header_payload_demux_0_0_0_0, '1']
- [digital_packet_headerparser_b_0_0_0, header_data, digital_header_payload_demux_0_0_0, header_data]
- [digital_packet_headerparser_b_0_0_0_0, header_data, digital_header_payload_demux_0_0_0_0, header_data]
- [digital_protocol_formatter_async_0, header, blocks_pdu_to_tagged_stream_0_0, pdus]
- [digital_protocol_formatter_async_0, payload, blocks_pdu_to_tagged_stream_0, pdus]
- [digital_protocol_formatter_async_0_0, header, blocks_pdu_to_tagged_stream_0_0_0, pdus]
- [digital_protocol_formatter_async_0_0, payload, blocks_pdu_to_tagged_stream_0_1, pdus]
- [epy_block_0, transmit_packet, blocks_random_pdu_0, generate]
- [epy_block_0, transmit_packet, digital_protocol_formatter_async_0, in]
- [epy_block_0_0, ack, blocks_random_pdu_0_0, generate]
- [epy_block_0_0, ack, digital_protocol_formatter_async_0_0, in]
- [fft_vxx_0, '0', digital_ofdm_cyclic_prefixer_0, '0']
- [fft_vxx_0_0, '0', digital_ofdm_cyclic_prefixer_0_0, '0']
- [fft_vxx_0_0_0_0, '0', digital_ofdm_chanest_vcvc_0_0_0, '0']
- [fft_vxx_0_0_0_0_0, '0', digital_ofdm_chanest_vcvc_0_0_0_0, '0']
- [fft_vxx_1_0_0, '0', digital_ofdm_frame_equalizer_vcvc_1_0_0, '0']
- [fft_vxx_1_0_0_0, '0', digital_ofdm_frame_equalizer_vcvc_1_0_0_0, '0']
- [uhd_usrp_source_0, '0', blocks_delay_0_0_0_0, '0']
- [uhd_usrp_source_0, '0', digital_ofdm_sync_sc_cfb_0_0_0_0, '0']
- [uhd_usrp_source_0, '0', qtgui_freq_sink_x_0, '0']
- [uhd_usrp_source_0, '0', virtual_sink_1_0_0_0_0, '0']
- [uhd_usrp_source_0_0, '0', blocks_delay_0_0_0, '0']
- [uhd_usrp_source_0_0, '0', digital_ofdm_sync_sc_cfb_0_0_0, '0']
- [uhd_usrp_source_0_0, '0', qtgui_freq_sink_x_0_0, '0']
- [virtual_source_0, '0', digital_chunks_to_symbols_xx_0, '0']
- [virtual_source_0_0, '0', digital_chunks_to_symbols_xx_0_0, '0']
- [virtual_source_0_0_0, '0', digital_ofdm_carrier_allocator_cvc_0, '0']
- [virtual_source_0_0_0_0, '0', digital_ofdm_carrier_allocator_cvc_0_0, '0']
- [virtual_source_0_0_1, '0', digital_chunks_to_symbols_xx_0_0_0, '0']
- [virtual_source_0_0_1_0_0, '0', digital_constellation_decoder_cb_1_0_0, '0']
- [virtual_source_0_0_1_0_0, '0', qtgui_time_sink_x_0, '0']
- [virtual_source_0_0_1_0_0_0, '0', digital_constellation_decoder_cb_1_0_0_0, '0']
- [virtual_source_0_0_1_0_0_0, '0', qtgui_time_sink_x_0_0, '0']
- [virtual_source_0_1, '0', digital_chunks_to_symbols_xx_0_1, '0']
- [virtual_source_0_1_0_0, '0', fft_vxx_0_0_0_0, '0']
- [virtual_source_0_1_0_0_0, '0', fft_vxx_0_0_0_0_0, '0']
- [virtual_source_1_0_0, '0', fft_vxx_1_0_0, '0']
- [virtual_source_1_0_0_0, '0', fft_vxx_1_0_0_0, '0']

metadata:
  file_format: 1
